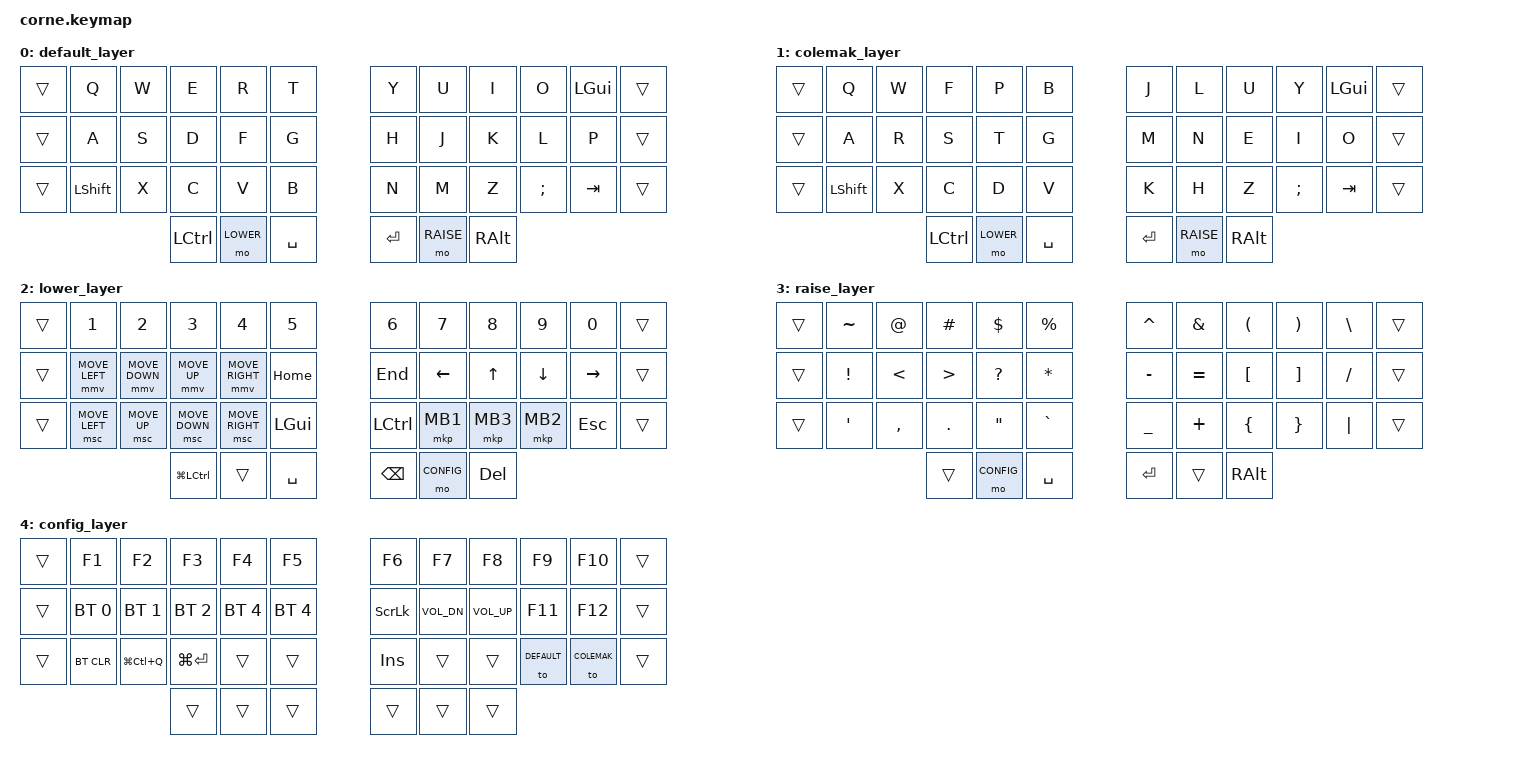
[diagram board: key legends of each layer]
/*
 * Copyright (c) 2020 The ZMK Contributors
 *
 * SPDX-License-Identifier: MIT
 */

#include <behaviors.dtsi>
#include <dt-bindings/zmk/keys.h>
#include <dt-bindings/zmk/bt.h>
#include <dt-bindings/zmk/mouse.h>

&mmv {
    acceleration-exponent = <1>;  // 1
    time-to-max-speed-ms = <300>; // 300
    delay-ms = <0>;
    trigger-period-ms = <8>;      // 16
};
&msc {
    acceleration-exponent = <1>;  // 0
    time-to-max-speed-ms = <300>;  // 300
    delay-ms = <0>;
    trigger-period-ms = <8>;      // 16
};

#define DEFAULT 0
#define COLEMAK 1
#define LOWER   2
#define RAISE   3
#define CONFIG  4

/ {
        keymap {
                compatible = "zmk,keymap";

                default_layer {
// -----------------------------------------------------------------------------------------
// | //// |  Q  |  W  |  E  |  R  |  T  |   |  Y  |  U  |  I  |  O  | GUI | //// |
// | //// |  A  |  S  |  D  |  F  |  G  |   |  H  |  J  |  K  |  L  |  P  | //// |
// | //// | SFT |  X  |  C  |  V  |  B  |   |  K  |  M  |  Z  |  ;  | TAB | //// |
//                    | CTL | LWR | SPC |   | ENT | RSE | ALT |
                        bindings = <
   &trans  &kp Q      &kp W  &kp E     &kp R     &kp T         &kp Y    &kp U     &kp I  &kp O    &kp LGUI  &trans
   &trans  &kp A      &kp S  &kp D     &kp F     &kp G         &kp H    &kp J     &kp K  &kp L    &kp P     &trans
   &trans  &kp LSHFT  &kp X  &kp C     &kp V     &kp B         &kp N    &kp M     &kp Z  &kp SEMI &kp TAB  &trans
                             &kp LCTRL &mo LOWER &kp SPACE     &kp RET  &mo RAISE &kp RALT
                        >;
                };
                colemak_layer {
// -----------------------------------------------------------------------------------------
// | //// |  Q  |  W  |  F  |  P  |  B  |   |  J  |  L   |  U  |  Y  | TAB | //// |
// | //// |  A  |  R  |  S  |  T  |  G  |   |  M  |  N   |  E  |  I  |  O  | //// |
// | //// | SFT |  X  |  C  |  D  |  V  |   |  K  |  H   |  Z  |  ;  | SFT | //// |
//                    | CTL | LWR | SPC |   | ENT | RSE  | ALT |
                        bindings = <
   &trans  &kp Q      &kp W  &kp F     &kp P     &kp B         &kp J    &kp L     &kp U  &kp Y    &kp LGUI  &trans
   &trans  &kp A      &kp R  &kp S     &kp T     &kp G         &kp M    &kp N     &kp E  &kp I    &kp O     &trans
   &trans  &kp LSHFT  &kp X  &kp C     &kp D     &kp V         &kp K    &kp H     &kp Z  &kp SEMI &kp TAB  &trans
                             &kp LCTRL &mo LOWER &kp SPACE     &kp RET  &mo RAISE &kp RALT
                        >;
                };
                lower_layer {
// -----------------------------------------------------------------------------------------
// | //// |  1  |  2  |  3  |  4  |  5  |   |  6  |  7  |  8  |  9  |  0  | //// | 
// | //// | MLT | MDN | MUP | MRT | HOM |   | END | LFT | UP  | DWN | RGT | //// |
// | //// | SLT | SDN | SUP | SRT | GUI |   | CRL | MB1 | MB3 | MB2 | ESC | //// |
//                    | CTL |     | SPC |   | BSP |     | DEL |
                        bindings = <
   &trans  &kp N1         &kp N2         &kp N3        &kp N4           &kp N5         &kp N6    &kp N7     &kp N8    &kp N9    &kp N0     &trans
   &trans  &mmv MOVE_LEFT &mmv MOVE_DOWN &mmv MOVE_UP  &mmv MOVE_RIGHT  &kp HOME       &kp END   &kp LEFT   &kp UP    &kp DOWN  &kp RIGHT  &trans
   &trans  &msc MOVE_LEFT &msc MOVE_UP &msc MOVE_DOWN  &msc MOVE_RIGHT  &kp LGUI       &kp LCTRL &mkp MB1   &mkp MB3  &mkp MB2  &kp ESC    &trans
                                         &kp LG(LCTRL) &trans           &kp SPACE      &kp BSPC  &mo CONFIG &kp DEL
                        >;
                };
                raise_layer {
// -----------------------------------------------------------------------------------------
// | //// |  ~  |  @  |  #  |  $  |  %  |   |  ^  |  &  | "(" | ")" |  /  | //// |
// | //// |  !  |  <  |  >  |  ?  |  *  |   |  -  |  =  |  [  |  ]  |  \  | //// |
// | //// |  '  |  ,  |  .  |  "  |  `  |   |  _  |  +  |  {  |  }  | "|" | //// |
//                    |     |     | SPC |   | RET |     | ALT |
                        bindings = <
   &trans  &kp TILDE  &kp AT    &kp HASH  &kp DLLR   &kp PRCNT    &kp CARET &kp AMPS  &kp LPAR  &kp RPAR &kp BSLH &trans
   &trans  &kp EXCL   &kp LT    &kp GT    &kp QMARK  &kp ASTRK    &kp MINUS &kp EQUAL &kp LBKT  &kp RBKT &kp FSLH &trans
   &trans  &kp SQT    &kp COMMA &kp DOT   &kp DQT    &kp GRAVE    &kp UNDER &kp PLUS  &kp LBRC  &kp RBRC &kp PIPE &trans
                                &trans    &mo CONFIG &kp SPACE    &kp RET   &trans    &kp RALT
                        >;
                };
                config_layer {
// -----------------------------------------------------------------------------------------
// | //// | F1  | F2  | F3  | F4  | F5  |   | F6  | F7  | F8  | F9  | F10 | //// |
// | //// | BT1 | BT2 | BT3 | BT4 | BT5 |   | SLK | VDN | VUP | F11 | F12 | //// |
// | //// | BTC |     |     |     |     |   | INS |     |     |     |     | //// |
//                    |     |     |     |   |     |     |     |
                        bindings = <
   &trans  &kp F1       &kp F2         &kp F3       &kp F4       &kp F5           &kp F6    &kp F7        &kp F8        &kp F9      &kp F10     &trans
   &trans  &bt BT_SEL 0 &bt BT_SEL 1   &bt BT_SEL 2 &bt BT_SEL 4 &bt BT_SEL 4     &kp SLCK  &kp K_VOL_DN  &kp K_VOL_UP  &kp F11     &kp F12     &trans
   &trans  &bt BT_CLR   &kp LG(LC(Q))  &kp LG(RET)  &trans       &trans           &kp INS   &trans        &trans        &to DEFAULT &to COLEMAK &trans
                                       &trans       &trans       &trans           &trans    &trans        &trans
                        >;
                };
        };
};
